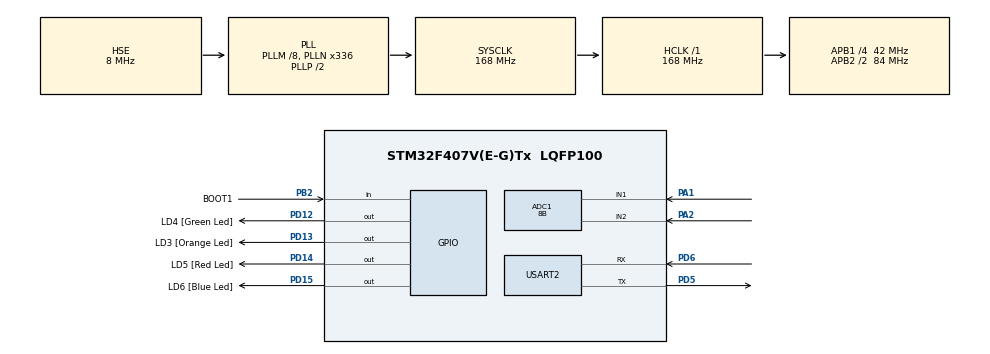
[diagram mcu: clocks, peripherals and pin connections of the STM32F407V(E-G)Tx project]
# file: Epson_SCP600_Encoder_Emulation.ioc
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ADC1.Channel-1\#ChannelRegularConversion=ADC_CHANNEL_1
ADC1.Channel-2\#ChannelRegularConversion=ADC_CHANNEL_2
ADC1.ClockPrescaler=ADC_CLOCK_SYNC_PCLK_DIV8
ADC1.ContinuousConvMode=ENABLE
ADC1.DMAContinuousRequests=ENABLE
ADC1.EOCSelection=ADC_EOC_SINGLE_CONV
ADC1.Mode=__NULL
ADC1.NbrOfConversion=2
ADC1.NbrOfConversionFlag=1
ADC1.Rank-1\#ChannelRegularConversion=1
ADC1.Rank-2\#ChannelRegularConversion=2
ADC1.Resolution=ADC_RESOLUTION_8B
ADC1.SamplingTime-1\#ChannelRegularConversion=ADC_SAMPLETIME_144CYCLES
ADC1.SamplingTime-2\#ChannelRegularConversion=ADC_SAMPLETIME_144CYCLES
ADC1.ScanConvMode=ENABLE
ADC1.master=1
Dma.ADC1.0.Direction=DMA_PERIPH_TO_MEMORY
Dma.ADC1.0.FIFOMode=DMA_FIFOMODE_DISABLE
Dma.ADC1.0.Instance=DMA2_Stream0
Dma.ADC1.0.MemDataAlignment=DMA_MDATAALIGN_HALFWORD
Dma.ADC1.0.MemInc=DMA_MINC_ENABLE
Dma.ADC1.0.Mode=DMA_CIRCULAR
Dma.ADC1.0.PeriphDataAlignment=DMA_PDATAALIGN_HALFWORD
Dma.ADC1.0.PeriphInc=DMA_PINC_DISABLE
Dma.ADC1.0.Priority=DMA_PRIORITY_LOW
Dma.Request0=ADC1
Mcu.Family=STM32F4
Mcu.Name=STM32F407V(E-G)Tx
Mcu.Package=LQFP100
NVIC.DMA2_Stream0_IRQn=true\:0\:0\:false\:false\:true\:false\:true
NVIC.PriorityGroup=NVIC_PRIORITYGROUP_4
NVIC.TIM6_DAC_IRQn=true\:0\:0\:false\:false\:true\:true\:true
NVIC.TIM7_IRQn=true\:0\:0\:false\:false\:true\:true\:true
PA1.Signal=ADCx_IN1
PA13.GPIO_Label=SWDIO
PA13.Mode=Trace_Asynchronous_SW
PA13.Signal=SYS_JTMS-SWDIO
PA14.GPIO_Label=SWCLK
PA14.Mode=Trace_Asynchronous_SW
PA14.Signal=SYS_JTCK-SWCLK
PA2.Signal=ADCx_IN2
PB2.GPIO_Label=BOOT1
PB2.GPIO_Mode=GPIO_MODE_INPUT
PB2.GPIO_PuPd=GPIO_NOPULL
PB2.Signal=GPIO_Input
PB3.Mode=Trace_Asynchronous_SW
PB3.Signal=SYS_JTDO-SWO
PD12.GPIO_Label=LD4 [Green Led]
PD12.GPIO_PuPd=GPIO_NOPULL
PD12.GPIO_Speed=GPIO_SPEED_FREQ_VERY_HIGH
PD12.Signal=GPIO_Output
PD13.GPIO_Label=LD3 [Orange Led]
PD13.GPIO_PuPd=GPIO_NOPULL
PD13.GPIO_Speed=GPIO_SPEED_FREQ_VERY_HIGH
PD13.Signal=GPIO_Output
PD14.GPIO_Label=LD5 [Red Led]
PD14.GPIO_PuPd=GPIO_NOPULL
PD14.GPIO_Speed=GPIO_SPEED_FREQ_LOW
PD14.Signal=GPIO_Output
PD15.GPIO_Label=LD6 [Blue Led]
PD15.GPIO_PuPd=GPIO_NOPULL
PD15.GPIO_Speed=GPIO_SPEED_FREQ_LOW
PD15.Signal=GPIO_Output
PD5.Mode=Asynchronous
PD5.Signal=USART2_TX
PD6.Mode=Asynchronous
PD6.Signal=USART2_RX
PH0-OSC_IN.GPIO_Label=PH0-OSC_IN
PH0-OSC_IN.Mode=HSE-External-Oscillator
PH0-OSC_IN.Signal=RCC_OSC_IN
PH1-OSC_OUT.GPIO_Label=PH1-OSC_OUT
PH1-OSC_OUT.Mode=HSE-External-Oscillator
PH1-OSC_OUT.Signal=RCC_OSC_OUT
ProjectManager.HeapSize=0x200
ProjectManager.StackSize=0x400
ProjectManager.TargetToolchain=SW4STM32
RCC.48MHZClocksFreq_Value=48000000
RCC.AHBFreq_Value=168000000
RCC.APB1CLKDivider=RCC_HCLK_DIV4
RCC.APB1Freq_Value=42000000
RCC.APB1TimFreq_Value=84000000
RCC.APB2CLKDivider=RCC_HCLK_DIV2
RCC.APB2Freq_Value=84000000
RCC.APB2TimFreq_Value=168000000
RCC.CortexFreq_Value=168000000
RCC.HCLKFreq_Value=168000000
RCC.HSE_VALUE=8000000
RCC.HSI_VALUE=16000000
RCC.LSE_VALUE=32768
RCC.PLLM=8
RCC.PLLN=336
RCC.PLLQ=7
RCC.PLLSourceVirtual=RCC_PLLSOURCE_HSE
RCC.SYSCLKFreq_VALUE=168000000
RCC.SYSCLKSource=RCC_SYSCLKSOURCE_PLLCLK
RCC.VCOOutputFreq_Value=336000000
SH.ADCx_IN1.0=ADC1_IN1,IN1
SH.ADCx_IN2.0=ADC1_IN2,IN2
TIM6.Period=3
TIM6.Prescaler=1311
TIM7.AutoReloadPreload=TIM_AUTORELOAD_PRELOAD_ENABLE
TIM7.Period=0
TIM7.Prescaler=7
TIM7.TIM_MasterOutputTrigger=TIM_TRGO_RESET
USART2.VirtualMode=VM_ASYNC
VP_TIM6_VS_ClockSourceINT.Mode=Enable_Timer
VP_TIM7_VS_ClockSourceINT.Mode=Enable_Timer
board=custom

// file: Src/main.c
/* USER CODE BEGIN Header */
/**
  ******************************************************************************
  * @file           : main.c
  * @brief          : Main program body
  ******************************************************************************
  * @attention
  *
  * <h2><center>&copy; Copyright (c) 2019 STMicroelectronics.
  * All rights reserved.</center></h2>
  *
  * This software component is licensed by ST under BSD 3-Clause license,
  * the "License"; You may not use this file except in compliance with the
  * License. You may obtain a copy of the License at:
  *                        opensource.org/licenses/BSD-3-Clause
  *
  ******************************************************************************
  */

//UART PA2 TX, PA3 RX
/* USER CODE END Header */

#include "main.h"

/* USER CODE BEGIN Includes */
#include "tools.h"
#include "task_scheduler.h"
/* USER CODE END Includes */

ADC_HandleTypeDef hadc1;
DMA_HandleTypeDef hdma_adc1;

TIM_HandleTypeDef htim6;
TIM_HandleTypeDef htim7;

UART_HandleTypeDef huart2;

/* USER CODE BEGIN PV */
#define uart_buff_size 3
char uart_buff[uart_buff_size];

SchedulerTasks stsTasks;
Task ledTask, commandTask, displayValueTask;

//Variable for IntToChar function
char text[12] = {0};

__IO uint16_t AdcRawValue[2] = {0};
int AdcVolage1, AdcVolage2;

//Input capture callback
void HAL_TIM_IC_CaptureCallback(TIM_HandleTypeDef *htim)
{

}

/**
 * Display Value task
 */
void displayValue()
{
	AdcVolage1 = (AdcRawValue[0] * 3300 ) / 255;
	AdcVolage2 = (AdcRawValue[1] * 3300 ) / 255;
	print("ADC1_IN1 = ");
	IntToChar(AdcVolage1, text);
	print(text);
	print("V, ADC1_IN2 = ");
	IntToChar(AdcVolage2, text);
	print(text);
	print("V\r\n");
}

/**
 *  Led task
 */
void led()
{
	HAL_GPIO_TogglePin(GPIOD, LD6_Pin);
}

/**
 * Command task
 */
void command()
{
	if(uart_buff[0] == 'S')
	{
		htim7.Instance->ARR = (((uint16_t)uart_buff[1] << 8) | (uint16_t)uart_buff[2]);
	}
	print("Get Command: ");
	print((const char*)&uart_buff[0]);
	print((const char*)&uart_buff[1]);
	print((const char*)&uart_buff[2]);
}

void HAL_UART_RxCpltCallback(UART_HandleTypeDef *huart)
{
	//UART data ready do command task
	TaskEventTrigger(&commandTask);
	//Receive next data
	HAL_UART_Receive_IT(&huart2, (uint8_t *)&uart_buff, uart_buff_size);
	//TODO: Implement timeout if UART error appear
}

/* USER CODE END PV */

void SystemClock_Config(void);
static void MX_GPIO_Init(void);
static void MX_DMA_Init(void);
static void MX_TIM7_Init(void);
static void MX_ADC1_Init(void);
static void MX_TIM6_Init(void);
static void MX_USART2_UART_Init(void);
/* USER CODE BEGIN PFP */

void HAL_TIM_PeriodElapsedCallback(TIM_HandleTypeDef *htim)
{
	if(htim->Instance == TIM7)
	{

	}

}

/* USER CODE END PFP */

/* USER CODE BEGIN 0 */
/* 9 (DMA IRQ callbacks) */
void data_tramsmitted_handler(DMA_HandleTypeDef *hdma)
{
     //Stop timer
    //__HAL_TIM_DISABLE(&htim1);
    // Reconfigure DMA
    //HAL_DMA_Start_IT(htim1.hdma[TIM_DMA_ID_UPDATE],(uint32_t)&my_data_buf,
    //    (uint32_t)&GPIOA, my_data_buf_length);
    // Start timer for new data transmit
    //__HAL_TIM_ENABLE(&htim1);
}

void transmit_error_handler(DMA_HandleTypeDef *hdma)
{
	HAL_GPIO_WritePin(GPIOD, LD5_Pin, GPIO_PIN_SET);
     //Stop timer
    //HAL_TIM_Base_Stop_IT(&htim7);
     //Some error handle ?
}

void print(const char *s) {
  while (*s!='\0') {
	  HAL_UART_Transmit(&huart2, (uint8_t *)s++, 1, 0xFFFF);
	  //TODO: Use DMA or IT to send data
  }
}

/* USER CODE END 0 */

int main(void)
{

  /* MCU Configuration--------------------------------------------------------*/

  /* Reset of all peripherals, Initializes the Flash interface and the Systick. */
  HAL_Init();

  /* Configure the system clock */
  SystemClock_Config();

  /* Initialize all configured peripherals */
  MX_GPIO_Init();
  MX_DMA_Init();
  MX_TIM7_Init();
  MX_ADC1_Init();
  MX_TIM6_Init();
  MX_USART2_UART_Init();
  /* USER CODE BEGIN 2 */
  print("System Initialized\r\n");
  SchedulerInit(&stsTasks);
  print("Scheduler Initialized\r\n");
  TaskCreate(&stsTasks, &ledTask, &led, 255);
  print("Created LED Task\r\n");
  TaskCreate(&stsTasks, &commandTask, &command, 10);
  print("Created Command Task\r\n");
  TaskCreate(&stsTasks, &displayValueTask, &displayValue,200);
  print("Created Display Value Task\r\n");
  TaskStart(&ledTask, 500);
  print("Start LED Task\r\n");
  TaskEventStart(&commandTask);
  print("Start Command Task\r\n");
  TaskStart(&displayValueTask, 500);
  print("Start Display Value Task\r\n");

  //HAL_UART_Receive_IT(&huart2, (uint8_t *)&uart_buff, uart_buff_size);

  HAL_ADC_Start_DMA(&hadc1, (uint32_t *)AdcRawValue, 2);

  HAL_TIM_Base_Start_IT(&htim6);
  //HAL_TIM_Base_Start_IT(&htim7);
  /* USER CODE END 2 */

  /* Infinite loop */
  /* USER CODE BEGIN WHILE */
  print("Start Scheduler\r\n");

  while(1)
  {
	  Scheduler(&stsTasks);
    /* USER CODE END WHILE */

  }
}

void SystemClock_Config(void)
{
  RCC_OscInitTypeDef RCC_OscInitStruct = {0};
  RCC_ClkInitTypeDef RCC_ClkInitStruct = {0};

  /** Configure the main internal regulator output voltage
  */
  __HAL_RCC_PWR_CLK_ENABLE();
  __HAL_PWR_VOLTAGESCALING_CONFIG(PWR_REGULATOR_VOLTAGE_SCALE1);
  /** Initializes the CPU, AHB and APB busses clocks
  */
  RCC_OscInitStruct.OscillatorType = RCC_OSCILLATORTYPE_HSE;
  RCC_OscInitStruct.HSEState = RCC_HSE_ON;
  RCC_OscInitStruct.PLL.PLLState = RCC_PLL_ON;
  RCC_OscInitStruct.PLL.PLLSource = RCC_PLLSOURCE_HSE;
  RCC_OscInitStruct.PLL.PLLM = 8;
  RCC_OscInitStruct.PLL.PLLN = 336;
  RCC_OscInitStruct.PLL.PLLP = RCC_PLLP_DIV2;
  RCC_OscInitStruct.PLL.PLLQ = 7;
  if (HAL_RCC_OscConfig(&RCC_OscInitStruct) != HAL_OK)
  {
    Error_Handler();
  }
  /** Initializes the CPU, AHB and APB busses clocks
  */
  RCC_ClkInitStruct.ClockType = RCC_CLOCKTYPE_HCLK|RCC_CLOCKTYPE_SYSCLK
                              |RCC_CLOCKTYPE_PCLK1|RCC_CLOCKTYPE_PCLK2;
  RCC_ClkInitStruct.SYSCLKSource = RCC_SYSCLKSOURCE_PLLCLK;
  RCC_ClkInitStruct.AHBCLKDivider = RCC_SYSCLK_DIV1;
  RCC_ClkInitStruct.APB1CLKDivider = RCC_HCLK_DIV4;
  RCC_ClkInitStruct.APB2CLKDivider = RCC_HCLK_DIV2;

  if (HAL_RCC_ClockConfig(&RCC_ClkInitStruct, FLASH_LATENCY_5) != HAL_OK)
  {
    Error_Handler();
  }
}

static void MX_ADC1_Init(void)
{

  ADC_ChannelConfTypeDef sConfig = {0};

  /** Configure the global features of the ADC (Clock, Resolution, Data Alignment and number of conversion)
  */
  hadc1.Instance = ADC1;
  hadc1.Init.ClockPrescaler = ADC_CLOCK_SYNC_PCLK_DIV8;
  hadc1.Init.Resolution = ADC_RESOLUTION_8B;
  hadc1.Init.ScanConvMode = ENABLE;
  hadc1.Init.ContinuousConvMode = ENABLE;
  hadc1.Init.DiscontinuousConvMode = DISABLE;
  hadc1.Init.ExternalTrigConvEdge = ADC_EXTERNALTRIGCONVEDGE_NONE;
  hadc1.Init.ExternalTrigConv = ADC_SOFTWARE_START;
  hadc1.Init.DataAlign = ADC_DATAALIGN_RIGHT;
  hadc1.Init.NbrOfConversion = 2;
  hadc1.Init.DMAContinuousRequests = ENABLE;
  hadc1.Init.EOCSelection = ADC_EOC_SINGLE_CONV;
  if (HAL_ADC_Init(&hadc1) != HAL_OK)
  {
    Error_Handler();
  }
  /** Configure for the selected ADC regular channel its corresponding rank in the sequencer and its sample time.
  */
  sConfig.Channel = ADC_CHANNEL_1;
  sConfig.Rank = 1;
  sConfig.SamplingTime = ADC_SAMPLETIME_144CYCLES;
  if (HAL_ADC_ConfigChannel(&hadc1, &sConfig) != HAL_OK)
  {
    Error_Handler();
  }
  /** Configure for the selected ADC regular channel its corresponding rank in the sequencer and its sample time.
  */
  sConfig.Channel = ADC_CHANNEL_2;
  sConfig.Rank = 2;
  if (HAL_ADC_ConfigChannel(&hadc1, &sConfig) != HAL_OK)
  {
    Error_Handler();
  }

}

static void MX_TIM6_Init(void)
{

  TIM_MasterConfigTypeDef sMasterConfig = {0};

  // Timer 6 generate 16kHz interrupt for check input motor voltage and change frequency of the encoder
  htim6.Instance = TIM6;
  htim6.Init.Prescaler = 1311;
  htim6.Init.CounterMode = TIM_COUNTERMODE_UP;
  htim6.Init.Period = 3;
  htim6.Init.AutoReloadPreload = TIM_AUTORELOAD_PRELOAD_DISABLE;
  if (HAL_TIM_Base_Init(&htim6) != HAL_OK)
  {
    Error_Handler();
  }
  sMasterConfig.MasterOutputTrigger = TIM_TRGO_RESET;
  sMasterConfig.MasterSlaveMode = TIM_MASTERSLAVEMODE_DISABLE;
  if (HAL_TIMEx_MasterConfigSynchronization(&htim6, &sMasterConfig) != HAL_OK)
  {
    Error_Handler();
  }

}

static void MX_TIM7_Init(void)
{

  TIM_MasterConfigTypeDef sMasterConfig = {0};

  htim7.Instance = TIM7;
  htim7.Init.Prescaler = 7;
  htim7.Init.CounterMode = TIM_COUNTERMODE_UP;
  htim7.Init.Period = 4200;
  htim7.Init.AutoReloadPreload = TIM_AUTORELOAD_PRELOAD_DISABLE;
  if (HAL_TIM_Base_Init(&htim7) != HAL_OK)
  {
    Error_Handler();
  }
  sMasterConfig.MasterOutputTrigger = TIM_TRGO_RESET;
  sMasterConfig.MasterSlaveMode = TIM_MASTERSLAVEMODE_DISABLE;
  if (HAL_TIMEx_MasterConfigSynchronization(&htim7, &sMasterConfig) != HAL_OK)
  {
    Error_Handler();
  }

}

static void MX_USART2_UART_Init(void)
{

  huart2.Instance = USART2;
  huart2.Init.BaudRate = 115200;
  huart2.Init.WordLength = UART_WORDLENGTH_8B;
  huart2.Init.StopBits = UART_STOPBITS_1;
  huart2.Init.Parity = UART_PARITY_NONE;
  huart2.Init.Mode = UART_MODE_TX_RX;
  huart2.Init.HwFlowCtl = UART_HWCONTROL_NONE;
  huart2.Init.OverSampling = UART_OVERSAMPLING_16;
  if (HAL_UART_Init(&huart2) != HAL_OK)
  {
    Error_Handler();
  }

}

static void MX_DMA_Init(void)
{

  /* DMA controller clock enable */
  __HAL_RCC_DMA2_CLK_ENABLE();

  /* DMA interrupt init */
  /* DMA2_Stream0_IRQn interrupt configuration */
  HAL_NVIC_SetPriority(DMA2_Stream0_IRQn, 0, 0);
  HAL_NVIC_EnableIRQ(DMA2_Stream0_IRQn);

}

static void MX_GPIO_Init(void)
{
  GPIO_InitTypeDef GPIO_InitStruct = {0};

  /* GPIO Ports Clock Enable */
  __HAL_RCC_GPIOH_CLK_ENABLE();
  __HAL_RCC_GPIOA_CLK_ENABLE();
  __HAL_RCC_GPIOB_CLK_ENABLE();
  __HAL_RCC_GPIOD_CLK_ENABLE();

  /*Configure GPIO pin Output Level */
  HAL_GPIO_WritePin(GPIOD, LD4_Pin|LD3_Pin|LD5_Pin|LD6_Pin, GPIO_PIN_RESET);

  /*Configure GPIO pin : BOOT1_Pin */
  GPIO_InitStruct.Pin = BOOT1_Pin;
  GPIO_InitStruct.Mode = GPIO_MODE_INPUT;
  GPIO_InitStruct.Pull = GPIO_NOPULL;
  HAL_GPIO_Init(BOOT1_GPIO_Port, &GPIO_InitStruct);

  /*Configure GPIO pins : LD4_Pin LD3_Pin */
  GPIO_InitStruct.Pin = LD4_Pin|LD3_Pin;
  GPIO_InitStruct.Mode = GPIO_MODE_OUTPUT_PP;
  GPIO_InitStruct.Pull = GPIO_NOPULL;
  GPIO_InitStruct.Speed = GPIO_SPEED_FREQ_VERY_HIGH;
  HAL_GPIO_Init(GPIOD, &GPIO_InitStruct);

  /*Configure GPIO pins : LD5_Pin LD6_Pin */
  GPIO_InitStruct.Pin = LD5_Pin|LD6_Pin;
  GPIO_InitStruct.Mode = GPIO_MODE_OUTPUT_PP;
  GPIO_InitStruct.Pull = GPIO_NOPULL;
  GPIO_InitStruct.Speed = GPIO_SPEED_FREQ_LOW;
  HAL_GPIO_Init(GPIOD, &GPIO_InitStruct);

}

void Error_Handler(void)
{
}

/************************ (C) COPYRIGHT STMicroelectronics *****END OF FILE****/
